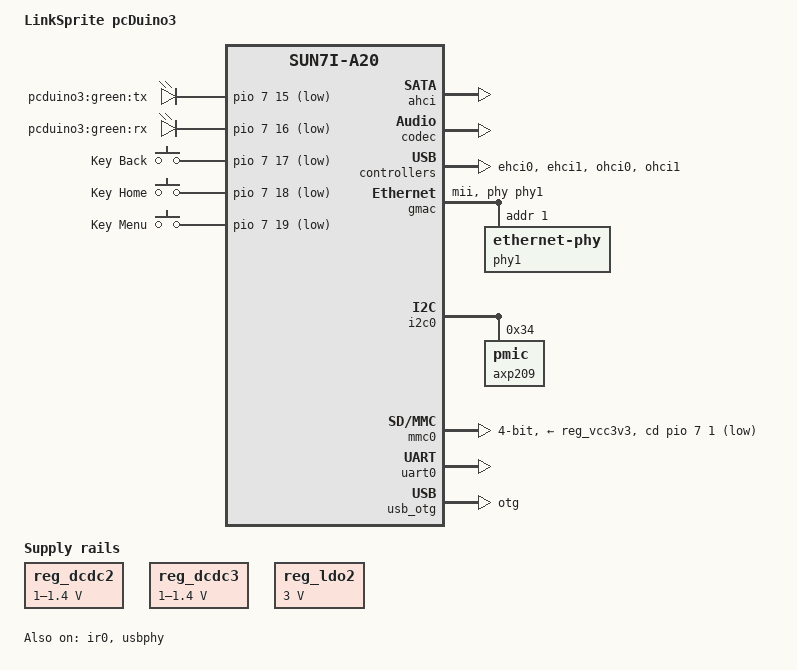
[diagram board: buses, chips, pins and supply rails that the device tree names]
/*
 * Copyright 2014 Zoltan HERPAI
 * Zoltan HERPAI <wigyori@uid0.hu>
 *
 * This file is dual-licensed: you can use it either under the terms
 * of the GPL or the X11 license, at your option. Note that this dual
 * licensing only applies to this file, and not this project as a
 * whole.
 *
 *  a) This file is free software; you can redistribute it and/or
 *     modify it under the terms of the GNU General Public License as
 *     published by the Free Software Foundation; either version 2 of the
 *     License, or (at your option) any later version.
 *
 *     This file is distributed in the hope that it will be useful,
 *     but WITHOUT ANY WARRANTY; without even the implied warranty of
 *     MERCHANTABILITY or FITNESS FOR A PARTICULAR PURPOSE.  See the
 *     GNU General Public License for more details.
 *
 * Or, alternatively,
 *
 *  b) Permission is hereby granted, free of charge, to any person
 *     obtaining a copy of this software and associated documentation
 *     files (the "Software"), to deal in the Software without
 *     restriction, including without limitation the rights to use,
 *     copy, modify, merge, publish, distribute, sublicense, and/or
 *     sell copies of the Software, and to permit persons to whom the
 *     Software is furnished to do so, subject to the following
 *     conditions:
 *
 *     The above copyright notice and this permission notice shall be
 *     included in all copies or substantial portions of the Software.
 *
 *     THE SOFTWARE IS PROVIDED "AS IS", WITHOUT WARRANTY OF ANY KIND,
 *     EXPRESS OR IMPLIED, INCLUDING BUT NOT LIMITED TO THE WARRANTIES
 *     OF MERCHANTABILITY, FITNESS FOR A PARTICULAR PURPOSE AND
 *     NONINFRINGEMENT. IN NO EVENT SHALL THE AUTHORS OR COPYRIGHT
 *     HOLDERS BE LIABLE FOR ANY CLAIM, DAMAGES OR OTHER LIABILITY,
 *     WHETHER IN AN ACTION OF CONTRACT, TORT OR OTHERWISE, ARISING
 *     FROM, OUT OF OR IN CONNECTION WITH THE SOFTWARE OR THE USE OR
 *     OTHER DEALINGS IN THE SOFTWARE.
 */

/dts-v1/;
#include "sun7i-a20.dtsi"
#include "sunxi-common-regulators.dtsi"

#include <dt-bindings/gpio/gpio.h>
#include <dt-bindings/input/input.h>
#include <dt-bindings/interrupt-controller/irq.h>

/ {
	model = "LinkSprite pcDuino3";
	compatible = "linksprite,pcduino3", "allwinner,sun7i-a20";

	aliases {
		serial0 = &uart0;
	};

	chosen {
		stdout-path = "serial0:115200n8";
	};

	leds {
		compatible = "gpio-leds";
		pinctrl-names = "default";
		pinctrl-0 = <&led_pins_pcduino3>;

		tx {
			label = "pcduino3:green:tx";
			gpios = <&pio 7 15 GPIO_ACTIVE_LOW>;
		};

		rx {
			label = "pcduino3:green:rx";
			gpios = <&pio 7 16 GPIO_ACTIVE_LOW>;
		};
	};

	gpio_keys {
		compatible = "gpio-keys";
		pinctrl-names = "default";
		pinctrl-0 = <&key_pins_pcduino3>;
		#address-cells = <1>;
		#size-cells = <0>;
		button@0 {
			label = "Key Back";
			linux,code = <KEY_BACK>;
			gpios = <&pio 7 17 GPIO_ACTIVE_LOW>;
		};
		button@1 {
			label = "Key Home";
			linux,code = <KEY_HOME>;
			gpios = <&pio 7 18 GPIO_ACTIVE_LOW>;
		};
		button@2 {
			label = "Key Menu";
			linux,code = <KEY_MENU>;
			gpios = <&pio 7 19 GPIO_ACTIVE_LOW>;
		};
	};
};

&ahci {
	target-supply = <&reg_ahci_5v>;
	status = "okay";
};

&ahci_pwr_pin_a {
	pins = "PH2";
};

&codec {
	status = "okay";
};

&cpu0 {
	cpu-supply = <&reg_dcdc2>;
};

&ehci0 {
	status = "okay";
};

&ehci1 {
	status = "okay";
};

&gmac {
	pinctrl-names = "default";
	pinctrl-0 = <&gmac_pins_mii_a>;
	phy = <&phy1>;
	phy-mode = "mii";
	status = "okay";

	phy1: ethernet-phy@1 {
		reg = <1>;
	};
};

&i2c0 {
	pinctrl-names = "default";
	pinctrl-0 = <&i2c0_pins_a>;
	status = "okay";

	axp209: pmic@34 {
		reg = <0x34>;
		interrupt-parent = <&nmi_intc>;
		interrupts = <0 IRQ_TYPE_LEVEL_LOW>;
	};
};

#include "axp209.dtsi"

&ir0 {
	pinctrl-names = "default";
	pinctrl-0 = <&ir0_rx_pins_a>;
	status = "okay";
};

&mmc0 {
	pinctrl-names = "default";
	pinctrl-0 = <&mmc0_pins_a>, <&mmc0_cd_pin_reference_design>;
	vmmc-supply = <&reg_vcc3v3>;
	bus-width = <4>;
	cd-gpios = <&pio 7 1 GPIO_ACTIVE_HIGH>; /* PH1 */
	cd-inverted;
	status = "okay";
};

&ohci0 {
	status = "okay";
};

&ohci1 {
	status = "okay";
};

&otg_sram {
	status = "okay";
};

&pio {
	led_pins_pcduino3: led_pins@0 {
		pins = "PH15", "PH16";
		function = "gpio_out";
	};

	key_pins_pcduino3: key_pins@0 {
		pins = "PH17", "PH18", "PH19";
		function = "gpio_in";
	};

	usb0_id_detect_pin: usb0_id_detect_pin@0 {
		pins = "PH4";
		function = "gpio_in";
		bias-pull-up;
	};
};

&reg_ahci_5v {
	gpio = <&pio 7 2 GPIO_ACTIVE_HIGH>;
	status = "okay";
};

&reg_dcdc2 {
	regulator-always-on;
	regulator-min-microvolt = <1000000>;
	regulator-max-microvolt = <1400000>;
	regulator-name = "vdd-cpu";
};

&reg_dcdc3 {
	regulator-always-on;
	regulator-min-microvolt = <1000000>;
	regulator-max-microvolt = <1400000>;
	regulator-name = "vdd-int-pll";
};

&reg_ldo1 {
	regulator-name = "vdd-rtc";
};

&reg_ldo2 {
	regulator-always-on;
	regulator-min-microvolt = <3000000>;
	regulator-max-microvolt = <3000000>;
	regulator-name = "avcc";
};

&reg_usb1_vbus {
	status = "okay";
};

&reg_usb2_vbus {
	status = "okay";
};

&uart0 {
	pinctrl-names = "default";
	pinctrl-0 = <&uart0_pins_a>;
	status = "okay";
};

&usb_otg {
	dr_mode = "otg";
	status = "okay";
};

&usbphy {
	pinctrl-names = "default";
	pinctrl-0 = <&usb0_id_detect_pin>;
	usb0_id_det-gpio = <&pio 7 4 GPIO_ACTIVE_HIGH>; /* PH4 */
	usb1_vbus-supply = <&reg_usb1_vbus>;
	usb2_vbus-supply = <&reg_usb2_vbus>;
	status = "okay";
};
